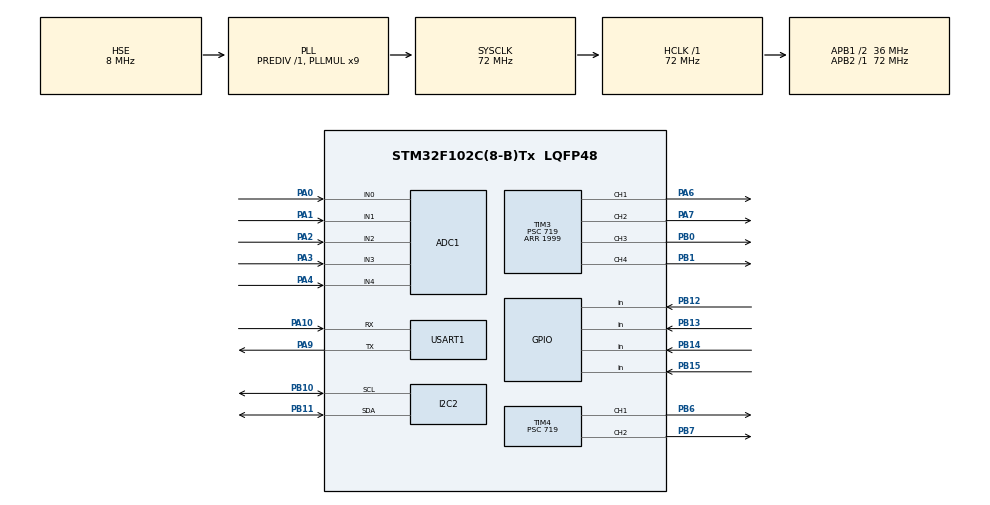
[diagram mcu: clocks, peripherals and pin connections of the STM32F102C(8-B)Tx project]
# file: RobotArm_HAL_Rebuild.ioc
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ADC1.Channel-0\#ChannelRegularConversion=ADC_CHANNEL_0
ADC1.Channel-1\#ChannelRegularConversion=ADC_CHANNEL_1
ADC1.Channel-2\#ChannelRegularConversion=ADC_CHANNEL_2
ADC1.Channel-3\#ChannelRegularConversion=ADC_CHANNEL_3
ADC1.Channel-4\#ChannelRegularConversion=ADC_CHANNEL_4
ADC1.ContinuousConvMode=ENABLE
ADC1.NbrOfConversion=5
ADC1.NbrOfConversionFlag=1
ADC1.Rank-0\#ChannelRegularConversion=1
ADC1.Rank-1\#ChannelRegularConversion=2
ADC1.Rank-2\#ChannelRegularConversion=3
ADC1.Rank-3\#ChannelRegularConversion=4
ADC1.Rank-4\#ChannelRegularConversion=5
ADC1.SamplingTime-0\#ChannelRegularConversion=ADC_SAMPLETIME_55CYCLES_5
ADC1.SamplingTime-1\#ChannelRegularConversion=ADC_SAMPLETIME_55CYCLES_5
ADC1.SamplingTime-2\#ChannelRegularConversion=ADC_SAMPLETIME_55CYCLES_5
ADC1.SamplingTime-3\#ChannelRegularConversion=ADC_SAMPLETIME_55CYCLES_5
ADC1.SamplingTime-4\#ChannelRegularConversion=ADC_SAMPLETIME_55CYCLES_5
ADC1.master=1
Dma.ADC1.0.Direction=DMA_PERIPH_TO_MEMORY
Dma.ADC1.0.Instance=DMA1_Channel1
Dma.ADC1.0.MemDataAlignment=DMA_MDATAALIGN_HALFWORD
Dma.ADC1.0.MemInc=DMA_MINC_ENABLE
Dma.ADC1.0.Mode=DMA_CIRCULAR
Dma.ADC1.0.PeriphDataAlignment=DMA_PDATAALIGN_HALFWORD
Dma.ADC1.0.PeriphInc=DMA_PINC_DISABLE
Dma.ADC1.0.Priority=DMA_PRIORITY_LOW
Dma.Request0=ADC1
Mcu.Family=STM32F1
Mcu.Name=STM32F102C(8-B)Tx
Mcu.Package=LQFP48
NVIC.DMA1_Channel1_IRQn=true\:0\:0\:false\:false\:true\:false\:true
NVIC.PriorityGroup=NVIC_PRIORITYGROUP_4
NVIC.USART1_IRQn=true\:0\:0\:false\:false\:true\:true\:true
PA0-WKUP.Signal=ADCx_IN0
PA1.Signal=ADCx_IN1
PA10.Mode=Asynchronous
PA10.Signal=USART1_RX
PA13.Mode=Serial_Wire
PA13.Signal=SYS_JTMS-SWDIO
PA14.Mode=Serial_Wire
PA14.Signal=SYS_JTCK-SWCLK
PA2.Signal=ADCx_IN2
PA3.Signal=ADCx_IN3
PA4.Signal=ADCx_IN4
PA6.Signal=S_TIM3_CH1
PA7.Signal=S_TIM3_CH2
PA9.Mode=Asynchronous
PA9.Signal=USART1_TX
PB0.Signal=S_TIM3_CH3
PB1.Signal=S_TIM3_CH4
PB10.Mode=I2C
PB10.Signal=I2C2_SCL
PB11.Mode=I2C
PB11.Signal=I2C2_SDA
PB12.GPIO_PuPd=GPIO_PULLUP
PB12.Signal=GPIO_Input
PB13.GPIO_PuPd=GPIO_PULLUP
PB13.Signal=GPIO_Input
PB14.GPIO_PuPd=GPIO_PULLUP
PB14.Signal=GPIO_Input
PB15.GPIO_PuPd=GPIO_PULLUP
PB15.Signal=GPIO_Input
PB6.Signal=S_TIM4_CH1
PB7.Signal=S_TIM4_CH2
PD0-OSC_IN.Mode=HSE-External-Oscillator
PD0-OSC_IN.Signal=RCC_OSC_IN
PD1-OSC_OUT.Mode=HSE-External-Oscillator
PD1-OSC_OUT.Signal=RCC_OSC_OUT
ProjectManager.HeapSize=0x200
ProjectManager.StackSize=0x400
ProjectManager.TargetToolchain=MDK-ARM V5.32
RCC.ADCPresc=RCC_ADCPCLK2_DIV6
RCC.AHBFreq_Value=72000000
RCC.APB1CLKDivider=RCC_HCLK_DIV2
RCC.APB1Freq_Value=36000000
RCC.APB1TimFreq_Value=72000000
RCC.APB2Freq_Value=72000000
RCC.HCLKFreq_Value=72000000
RCC.PLLMUL=RCC_PLL_MUL9
RCC.PLLSourceVirtual=RCC_PLLSOURCE_HSE
RCC.SYSCLKFreq_VALUE=72000000
RCC.SYSCLKSource=RCC_SYSCLKSOURCE_PLLCLK
RCC.USBFreq_Value=72000000
SH.ADCx_IN0.0=ADC1_IN0,IN0
SH.ADCx_IN1.0=ADC1_IN1,IN1
SH.ADCx_IN2.0=ADC1_IN2,IN2
SH.ADCx_IN3.0=ADC1_IN3,IN3
SH.ADCx_IN4.0=ADC1_IN4,IN4
SH.S_TIM3_CH1.0=TIM3_CH1,PWM Generation1 CH1
SH.S_TIM3_CH2.0=TIM3_CH2,PWM Generation2 CH2
SH.S_TIM3_CH3.0=TIM3_CH3,PWM Generation3 CH3
SH.S_TIM3_CH4.0=TIM3_CH4,PWM Generation4 CH4
SH.S_TIM4_CH1.0=TIM4_CH1,PWM Generation1 CH1
SH.S_TIM4_CH2.0=TIM4_CH2,PWM Generation2 CH2
TIM3.Channel-PWM\ Generation1\ CH1=TIM_CHANNEL_1
TIM3.Channel-PWM\ Generation2\ CH2=TIM_CHANNEL_2
TIM3.Channel-PWM\ Generation3\ CH3=TIM_CHANNEL_3
TIM3.Channel-PWM\ Generation4\ CH4=TIM_CHANNEL_4
TIM3.Period=1999
TIM3.Prescaler=719
TIM4.Channel-PWM\ Generation1\ CH1=TIM_CHANNEL_1
TIM4.Channel-PWM\ Generation2\ CH2=TIM_CHANNEL_2
TIM4.Period=1999
TIM4.Prescaler=719
USART1.VirtualMode=VM_ASYNC
VP_TIM3_VS_ClockSourceINT.Mode=Internal
VP_TIM4_VS_ClockSourceINT.Mode=Internal
board=custom

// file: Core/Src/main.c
/* USER CODE BEGIN Header */
/**
  ******************************************************************************
  * @file           : main.c
  * @brief          : Main program body
  ******************************************************************************
  * @attention
  *
  * Copyright (c) 2026 STMicroelectronics.
  * All rights reserved.
  *
  * This software is licensed under terms that can be found in the LICENSE file
  * in the root directory of this software component.
  * If no LICENSE file comes with this software, it is provided AS-IS.
  *
  ******************************************************************************
  */
/* USER CODE END Header */
#include "main.h"
#include "adc.h"
#include "dma.h"
#include "i2c.h"
#include "tim.h"
#include "usart.h"
#include "gpio.h"
#include "robot_gripper.h"
#include "robot_key.h"
#include "robot_oled_font.h"
#include "robot_oled.h"
#include "robot_record.h"
#include "robot_servo.h"
#include "robot_uart.h"

/* USER CODE BEGIN PD */

// 调试模式
// 0 = 关闭
// 1 = 打开
#define ROBOT_DEBUG_ENABLE  1
// #define ROBOT_DEBUG_ENABLE  0

#define OLED_JOINT_REFRESH_MS  300

/* USER CODE END PD */

/* USER CODE BEGIN PV */

uint16_t adc_values[5] = {0};

volatile uint8_t gripper_state = 0;  // 0 = 打开�??1 = 闭合

volatile uint8_t key = 0;
volatile uint8_t playback_busy = 0;

#if ROBOT_DEBUG_ENABLE

volatile uint16_t adc_debug0 = 0;
volatile uint16_t adc_debug1 = 0;
volatile uint16_t adc_debug2 = 0;
volatile uint16_t adc_debug3 = 0;
volatile uint16_t adc_debug4 = 0;

volatile uint8_t key_last = 0;
volatile uint32_t key_count = 0;
volatile uint32_t playback_count = 0;

volatile uint8_t pb12_state = 1;
volatile uint8_t pb13_state = 1;
volatile uint8_t pb14_state = 1;
volatile uint8_t pb15_state = 1;

#endif

volatile uint32_t oled_last_tick = 0;

uint16_t oled_joint_pwm[5] = {150, 150, 150, 150, 150};
uint32_t oled_joint_last_tick = 0;

uint16_t record_current_pwm[5] = {150, 150, 150, 150, 150};

/* USER CODE END PV */

void SystemClock_Config(void);

int main(void)
{

  /* MCU Configuration--------------------------------------------------------*/

  /* Reset of all peripherals, Initializes the Flash interface and the Systick. */
  HAL_Init();

  /* Configure the system clock */
  SystemClock_Config();

  /* Initialize all configured peripherals */
  MX_GPIO_Init();
  MX_DMA_Init();
  MX_ADC1_Init();
  MX_TIM3_Init();
  MX_TIM4_Init();
  MX_I2C2_Init();
  MX_USART1_UART_Init();
  /* USER CODE BEGIN 2 */

  Servo_All_Mid();
  Servo_PWM_Start_All();
  HAL_Delay(1000);

  // 夹爪测试已完成，ADC 测试阶段先不自动�???合夹�???
  // Gripper_Test_PWM(140);
  // HAL_Delay(1000);

  // Gripper_Test_PWM(50);
  // HAL_Delay(1000);

  // Gripper_Test_PWM(140);
  // HAL_Delay(1000);

  /* ADC 校准 */
  HAL_ADCEx_Calibration_Start(&hadc1);

  /* 启动 ADC + DMA，连续采�? PA0~PA4 */
  HAL_ADC_Start_DMA(&hadc1, (uint32_t *)adc_values, 5);

  /* OLED 初始化并显示初始界面 */
  Robot_OLED_Init();
  Servo_Get_Current_PWM(oled_joint_pwm);
  Robot_OLED_Show_Joints_Status(oled_joint_pwm,
                              gripper_state,
                              playback_busy,
                              record_count,
                              robot_mode);

  Robot_UART_Init();

  /* USER CODE END 2 */

  /* Infinite loop */
  while (1)
  {

    /* USER CODE BEGIN 3 */

    Robot_UART_Task(&gripper_state);

    if (uart_req_clear)
    {
        uart_req_clear = 0;
        Record_Clear();
    }

    if (uart_req_record)
    {
        uart_req_record = 0;

        Servo_Get_Current_PWM(record_current_pwm);
        Record_Current_Point(record_current_pwm, gripper_state);
    }

    if (uart_req_play)
    {
        uart_req_play = 0;

        playback_busy = 1;

        Servo_Get_Current_PWM(oled_joint_pwm);
        Robot_OLED_Show_Joints_Status(oled_joint_pwm,
                                      gripper_state,
                                      playback_busy,
                                      record_count,
                                      robot_mode);

        Playback_Record();

        HAL_Delay(1000);

        playback_busy = 0;

        Servo_Get_Current_PWM(oled_joint_pwm);
        Robot_OLED_Show_Joints_Status(oled_joint_pwm,
                                      gripper_state,
                                      playback_busy,
                                      record_count,
                                      robot_mode);
    }

    key = Key_GetNum();

    #if ROBOT_DEBUG_ENABLE

    // 读取按键原始状态
    pb12_state = HAL_GPIO_ReadPin(GPIOB, GPIO_PIN_12);
    pb13_state = HAL_GPIO_ReadPin(GPIOB, GPIO_PIN_13);
    pb14_state = HAL_GPIO_ReadPin(GPIOB, GPIO_PIN_14);
    pb15_state = HAL_GPIO_ReadPin(GPIOB, GPIO_PIN_15);

    if (key != KEY_NONE)
    {
        key_last = key;
        key_count++;
    }

    // 更新 ADC 调试�??
    adc_debug0 = adc_values[0];
    adc_debug1 = adc_values[1];
    adc_debug2 = adc_values[2];
    adc_debug3 = adc_values[3];
    adc_debug4 = adc_values[4];

    #endif

    switch (key)
    {
      case KEY1_NUM:
          Record_Clear();
          break;

      case KEY2_NUM:
          #if ROBOT_DEBUG_ENABLE
          playback_count++;
          #endif

          playback_busy = 1;
          Robot_OLED_Show_Joints_Status(oled_joint_pwm,
                                  gripper_state,
                                  playback_busy,
                                  record_count,
                                  robot_mode);

          Playback_Record();

          HAL_Delay(1000);

          playback_busy = 0;
          Servo_Get_Current_PWM(oled_joint_pwm);
          Robot_OLED_Show_Joints_Status(oled_joint_pwm,
                                  gripper_state,
                                  playback_busy,
                                  record_count,
                                  robot_mode);
          break;

      case KEY3_NUM:
          gripper_state = !gripper_state;

          if (gripper_state == 0)
          {
              Gripper_Open();
          }
          else
          {
              Gripper_Close();
          }
          break;

      case KEY4_NUM:
          Servo_Get_Current_PWM(record_current_pwm);
          Record_Current_Point(record_current_pwm, gripper_state);
          break;

      default:
          break;
    }

    if (playback_busy == 0 && robot_mode == ROBOT_MODE_MANUAL)
    {
        Servo_Update_From_ADC(adc_values);
    }

    if (HAL_GetTick() - oled_joint_last_tick >= OLED_JOINT_REFRESH_MS)
    {
      oled_joint_last_tick = HAL_GetTick();

      Servo_Get_Current_PWM(oled_joint_pwm);
      Robot_OLED_Show_Joints_Status(oled_joint_pwm,
                              gripper_state,
                              playback_busy,
                              record_count,
                              robot_mode);
    }

    HAL_Delay(10);

  }
  /* USER CODE END 3 */
}

void SystemClock_Config(void)
{
  RCC_OscInitTypeDef RCC_OscInitStruct = {0};
  RCC_ClkInitTypeDef RCC_ClkInitStruct = {0};
  RCC_PeriphCLKInitTypeDef PeriphClkInit = {0};

  /** Initializes the RCC Oscillators according to the specified parameters
  * in the RCC_OscInitTypeDef structure.
  */
  RCC_OscInitStruct.OscillatorType = RCC_OSCILLATORTYPE_HSE;
  RCC_OscInitStruct.HSEState = RCC_HSE_ON;
  RCC_OscInitStruct.HSEPredivValue = RCC_HSE_PREDIV_DIV1;
  RCC_OscInitStruct.HSIState = RCC_HSI_ON;
  RCC_OscInitStruct.PLL.PLLState = RCC_PLL_ON;
  RCC_OscInitStruct.PLL.PLLSource = RCC_PLLSOURCE_HSE;
  RCC_OscInitStruct.PLL.PLLMUL = RCC_PLL_MUL9;
  if (HAL_RCC_OscConfig(&RCC_OscInitStruct) != HAL_OK)
  {
    Error_Handler();
  }
  /** Initializes the CPU, AHB and APB buses clocks
  */
  RCC_ClkInitStruct.ClockType = RCC_CLOCKTYPE_HCLK|RCC_CLOCKTYPE_SYSCLK
                              |RCC_CLOCKTYPE_PCLK1|RCC_CLOCKTYPE_PCLK2;
  RCC_ClkInitStruct.SYSCLKSource = RCC_SYSCLKSOURCE_PLLCLK;
  RCC_ClkInitStruct.AHBCLKDivider = RCC_SYSCLK_DIV1;
  RCC_ClkInitStruct.APB1CLKDivider = RCC_HCLK_DIV2;
  RCC_ClkInitStruct.APB2CLKDivider = RCC_HCLK_DIV1;

  if (HAL_RCC_ClockConfig(&RCC_ClkInitStruct, FLASH_LATENCY_2) != HAL_OK)
  {
    Error_Handler();
  }
  PeriphClkInit.PeriphClockSelection = RCC_PERIPHCLK_ADC;
  PeriphClkInit.AdcClockSelection = RCC_ADCPCLK2_DIV6;
  if (HAL_RCCEx_PeriphCLKConfig(&PeriphClkInit) != HAL_OK)
  {
    Error_Handler();
  }
}

void Error_Handler(void)
{
  __disable_irq();
  while (1)
  {
  }
}
